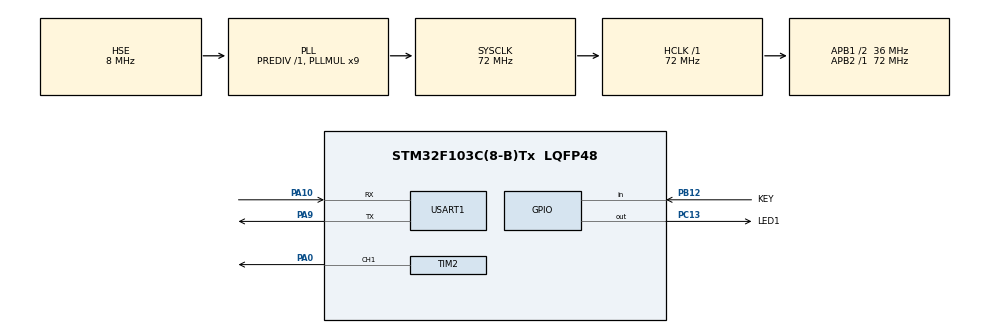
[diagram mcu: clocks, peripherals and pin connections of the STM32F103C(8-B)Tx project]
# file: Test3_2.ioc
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Mcu.Family=STM32F1
Mcu.Name=STM32F103C(8-B)Tx
Mcu.Package=LQFP48
NVIC.PriorityGroup=NVIC_PRIORITYGROUP_4
NVIC.TIM4_IRQn=true\:0\:0\:false\:false\:true\:true\:true\:true
NVIC.USART1_IRQn=true\:0\:0\:false\:false\:true\:true\:true\:true
PA0-WKUP.Signal=S_TIM2_CH1_ETR
PA10.Mode=Asynchronous
PA10.Signal=USART1_RX
PA13.Mode=Serial_Wire
PA13.Signal=SYS_JTMS-SWDIO
PA14.Mode=Serial_Wire
PA14.Signal=SYS_JTCK-SWCLK
PA9.Mode=Asynchronous
PA9.Signal=USART1_TX
PB12.GPIO_Label=KEY
PB12.GPIO_PuPd=GPIO_PULLUP
PB12.Signal=GPIO_Input
PC13-TAMPER-RTC.GPIO_Label=LED1
PC13-TAMPER-RTC.GPIO_ModeDefaultOutputPP=GPIO_MODE_OUTPUT_OD
PC13-TAMPER-RTC.GPIO_PuPd=GPIO_NOPULL
PC13-TAMPER-RTC.PinState=GPIO_PIN_SET
PC13-TAMPER-RTC.Signal=GPIO_Output
PD0-OSC_IN.Mode=HSE-External-Oscillator
PD0-OSC_IN.Signal=RCC_OSC_IN
PD1-OSC_OUT.Mode=HSE-External-Oscillator
PD1-OSC_OUT.Signal=RCC_OSC_OUT
ProjectManager.HeapSize=0x200
ProjectManager.StackSize=0x400
ProjectManager.TargetToolchain=MDK-ARM V5.32
RCC.AHBFreq_Value=72000000
RCC.APB1CLKDivider=RCC_HCLK_DIV2
RCC.APB1Freq_Value=36000000
RCC.APB1TimFreq_Value=72000000
RCC.APB2Freq_Value=72000000
RCC.APB2TimFreq_Value=72000000
RCC.HCLKFreq_Value=72000000
RCC.PLLMUL=RCC_PLL_MUL9
RCC.PLLSourceVirtual=RCC_PLLSOURCE_HSE
RCC.SYSCLKFreq_VALUE=72000000
RCC.SYSCLKSource=RCC_SYSCLKSOURCE_PLLCLK
RCC.USBFreq_Value=72000000
SH.S_TIM2_CH1_ETR.0=TIM2_CH1,PWM Generation1 CH1
TIM2.Channel-PWM\ Generation1\ CH1=TIM_CHANNEL_1
TIM2.Period=100 - 1
TIM2.Prescaler=72 - 1
TIM4.Period=1000 - 1
TIM4.Prescaler=72 - 1
USART1.VirtualMode=VM_ASYNC
VP_TIM2_VS_ClockSourceINT.Mode=Internal
VP_TIM4_VS_ClockSourceINT.Mode=Internal
board=custom

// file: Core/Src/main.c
/* USER CODE BEGIN Header */
/**
  ******************************************************************************
  * @file           : main.c
  * @brief          : Main program body
  ******************************************************************************
  * @attention
  *
  * Copyright (c) 2026 STMicroelectronics.
  * All rights reserved.
  *
  * This software is licensed under terms that can be found in the LICENSE file
  * in the root directory of this software component.
  * If no LICENSE file comes with this software, it is provided AS-IS.
  *
  ******************************************************************************
  */
/* USER CODE END Header */
#include "main.h"
#include "tim.h"
#include "usart.h"
#include "gpio.h"

/* USER CODE BEGIN Includes */
#include "TimeSlide.h"
#include "Button.h"
/* USER CODE END Includes */

/* USER CODE BEGIN PTD */
typedef enum
{
  STATE_WAIT_FOR_HEADER1,
  STATE_WAIT_FOR_HEADER2,
  STATE_READ_Command,
  STATE_READ_Data,
  STATE_READ_TAIL1,
  STATE_READ_TAIL2
} SerialState;
/* USER CODE END PTD */

/* USER CODE BEGIN PD */
#define RECEIVE_HEADER_BYTE1 0xFA
#define RECEIVE_HEADER_BYTE2 0xAF
#define RECEIVE_TAIL_BYTE1 0xFB
#define RECEIVE_TAIL_BYTE2 0xBF
#define BACK_HEADER_BYTE1 0xFC
#define BACK_HEADER_BYTE2 0xCF
#define BACK_COMMAND_BYTE 0x03
#define BACK_TAIL_BYTE1 0xFD
#define BACK_TAIL_BYTE2 0xDF
#define TRANSMIT_HEADER_BYTE1 0xFA
#define TRANSMIT_HEADER_BYTE2 0xAF
#define TRANSMIT_COMMAND_BYTE 0x01
#define TRANSMIT_TAIL_BYTE1 0xFB
#define TRANSMIT_TAIL_BYTE2 0xBF
/* USER CODE END PD */

/* USER CODE BEGIN PV */
uint8_t state = 0; //0待机, 1运行
Button button1;
uint8_t receiveBuffer; // 接收缓冲区
uint8_t transmitBackBuffer[6];
uint8_t transmitBuffer[6];
SerialState current_state = STATE_WAIT_FOR_HEADER1;
uint8_t command, data;
TimeSliceTask led1ToggleTask;
uint8_t led1ToggleTaskState = 0;
uint8_t button1TaskState = 0;
uint8_t transmitState = 0x01;
uint8_t led2State = 0; // 0由暗到亮，1由亮到暗
float led2Light = 0;
/* USER CODE END PV */

void SystemClock_Config(void);

/* USER CODE BEGIN 0 */
void LED1_Toggle(void)
{
  HAL_GPIO_TogglePin(LED1_GPIO_Port, LED1_Pin); // 切换LED1状态
}

void HAL_UART_RxCpltCallback(UART_HandleTypeDef *huart)
{
  if(huart == &huart1)
  {
    if(state == 1)
    {
      switch(current_state)
      {
        case STATE_WAIT_FOR_HEADER1:
          if(receiveBuffer == RECEIVE_HEADER_BYTE1)
          {
            current_state = STATE_WAIT_FOR_HEADER2;
          }
          break;
        case STATE_WAIT_FOR_HEADER2:
          if(receiveBuffer == RECEIVE_HEADER_BYTE2)
          {
            current_state = STATE_READ_Command;
          }
          else
          {
            current_state = STATE_WAIT_FOR_HEADER1;
          }
          break;
        case STATE_READ_Command:
          command = receiveBuffer;
          current_state = STATE_READ_Data;
          break;
        case STATE_READ_Data:
          data = receiveBuffer;
          current_state = STATE_READ_TAIL1;
          break;
        case STATE_READ_TAIL1:
          if(receiveBuffer == RECEIVE_TAIL_BYTE1)
          {
            current_state = STATE_READ_TAIL2;
          }
          else
          {
            current_state = STATE_WAIT_FOR_HEADER1;
          }
          break;
        case STATE_READ_TAIL2:
          if(receiveBuffer == RECEIVE_TAIL_BYTE2)
          {
            if(command == 0x01)
            {
              uint8_t result = 0x00; // 默认失败
              if(data == 0x00)
              {
                HAL_GPIO_WritePin(LED1_GPIO_Port, LED1_Pin, GPIO_PIN_SET); // 关闭LED1
                result = 0x01; // 执行成功
              }
              else if(data == 0x01)
              {
                HAL_GPIO_WritePin(LED1_GPIO_Port, LED1_Pin, GPIO_PIN_RESET); // 打开LED1
                result = 0x01; // 执行成功
              }
              // 发送响应帧
              if(huart1.gState == HAL_UART_STATE_READY)
              {
                transmitBackBuffer[3] = result;
                HAL_UART_Transmit_IT(&huart1, transmitBackBuffer, sizeof(transmitBackBuffer));
              }
            }
            else if(command == 0x02)
            {
              if(data == 0x00)
              {
                // 0次闪烁：停止任务，关闭LED，立即返回成功
                TimeSlide_Disable(&led1ToggleTask);
                HAL_GPIO_WritePin(LED1_GPIO_Port, LED1_Pin, GPIO_PIN_SET);
                if(huart1.gState == HAL_UART_STATE_READY)
                {
                  transmitBackBuffer[3] = 0x01;
                  HAL_UART_Transmit_IT(&huart1, transmitBackBuffer, sizeof(transmitBackBuffer));
                }
              }
              else
              {
                led1ToggleTask.run_times = data * 2; // 设置翻转次数（闪烁次数×2）
                TimeSlide_Enable(&led1ToggleTask); // 启动任务
              }
            }
            current_state = STATE_WAIT_FOR_HEADER1;
          }
          else
          {
            current_state = STATE_WAIT_FOR_HEADER1;
          }
          break;
        default:
          current_state = STATE_WAIT_FOR_HEADER1;
      }
    }
    HAL_UART_Receive_IT(&huart1, &receiveBuffer, 1); // 继续接收下一个字节
  }
}

void HAL_TIM_PeriodElapsedCallback(TIM_HandleTypeDef *htim)
{
  if(htim == &htim4)
  {
    if(state == 1)
    {
      if(led2State == 0)
      {
        led2Light += 100.00 / 1100.00;
        if(led2Light >= 100)
        {
          led2Light = 100;
          led2State = 1; // 切换到由亮到暗
        }
      }
      else
      {
        led2Light -= 100.00 / 700.00;
        if(led2Light <= 0)
        {
          led2Light = 0.0;
          led2State = 0; // 切换到由暗到亮
        }
      }
      uint8_t pwm_value = (uint8_t)led2Light; // 将亮度转换为PWM值
      __HAL_TIM_SET_COMPARE(&htim2, TIM_CHANNEL_1, pwm_value); // 调整LED2亮度
    }
  }
}
/* USER CODE END 0 */

int main(void)
{

  /* MCU Configuration--------------------------------------------------------*/

  /* Reset of all peripherals, Initializes the Flash interface and the Systick. */
  HAL_Init();

  /* Configure the system clock */
  SystemClock_Config();

  /* Initialize all configured peripherals */
  MX_GPIO_Init();
  MX_TIM2_Init();
  MX_USART1_UART_Init();
  MX_TIM4_Init();
  /* USER CODE BEGIN 2 */
  HAL_TIM_Base_Start_IT(&htim4);
  led1ToggleTask.func = LED1_Toggle;
  led1ToggleTask.period_ms = 25; // 翻转周期 25ms（50ms闪烁周期的一半）
  button1.dead_zone_time = 50;        // 防抖时间 50ms
  button1.long_press_threshold = 2000; // 长按阈值 2秒
  transmitBackBuffer[0] = BACK_HEADER_BYTE1;
  transmitBackBuffer[1] = BACK_HEADER_BYTE2;
  transmitBackBuffer[2] = BACK_COMMAND_BYTE;
  transmitBackBuffer[4] = BACK_TAIL_BYTE1;
  transmitBackBuffer[5] = BACK_TAIL_BYTE2;
  transmitBuffer[0] = TRANSMIT_HEADER_BYTE1;
  transmitBuffer[1] = TRANSMIT_HEADER_BYTE2;
  transmitBuffer[2] = TRANSMIT_COMMAND_BYTE;
  transmitBuffer[4] = TRANSMIT_TAIL_BYTE1;
  transmitBuffer[5] = TRANSMIT_TAIL_BYTE2;
  HAL_UART_Receive_IT(&huart1, &receiveBuffer, 1);
  /* USER CODE END 2 */

  /* Infinite loop */
  /* USER CODE BEGIN WHILE */
  while (1)
  {
    button1TaskState = ButtonUpdate(&button1, HAL_GPIO_ReadPin(KEY_GPIO_Port, KEY_Pin) == GPIO_PIN_RESET);
    if(state == 0)
    {
      if(button1TaskState == 2)
      {
        state = 1; // 切换到运行状态
        HAL_TIM_PWM_Start(&htim2, TIM_CHANNEL_1);
        button1TaskState = 0;
      }
    }
    else if(state == 1)
    {
      if(button1TaskState == 2)
      {
        state = 0; // 切换到待机状态
        TimeSlide_Disable(&led1ToggleTask);
        led1ToggleTaskState = 0;
        HAL_GPIO_WritePin(LED1_GPIO_Port, LED1_Pin, GPIO_PIN_SET);
        led2Light = 0.0;
        led2State = 0;
        __HAL_TIM_SET_COMPARE(&htim2, TIM_CHANNEL_1, 0);
        HAL_TIM_PWM_Stop(&htim2, TIM_CHANNEL_1);
        transmitState = 0x01;
        button1TaskState = 0;
      }
      else if(button1TaskState == 1)
      {
        button1TaskState = 0;
        if(huart1.gState == HAL_UART_STATE_READY)
        {
          transmitBuffer[3] = transmitState;
          HAL_UART_Transmit_IT(&huart1, transmitBuffer, sizeof(transmitBuffer));
          transmitState = (transmitState == 0x01) ? 0x00 : 0x01;
        }
      }
      led1ToggleTaskState = TimeSlide_Update(&led1ToggleTask);
      if(led1ToggleTaskState == 1)
      {
        led1ToggleTaskState = 0;
        if(huart1.gState == HAL_UART_STATE_READY)
        {
          transmitBackBuffer[3] = 0x01; // 执行成功
          HAL_UART_Transmit_IT(&huart1, transmitBackBuffer, sizeof(transmitBackBuffer));
        }
      }
    }
    /* USER CODE END WHILE */

  }
}

void SystemClock_Config(void)
{
  RCC_OscInitTypeDef RCC_OscInitStruct = {0};
  RCC_ClkInitTypeDef RCC_ClkInitStruct = {0};

  /** Initializes the RCC Oscillators according to the specified parameters
  * in the RCC_OscInitTypeDef structure.
  */
  RCC_OscInitStruct.OscillatorType = RCC_OSCILLATORTYPE_HSE;
  RCC_OscInitStruct.HSEState = RCC_HSE_ON;
  RCC_OscInitStruct.HSEPredivValue = RCC_HSE_PREDIV_DIV1;
  RCC_OscInitStruct.HSIState = RCC_HSI_ON;
  RCC_OscInitStruct.PLL.PLLState = RCC_PLL_ON;
  RCC_OscInitStruct.PLL.PLLSource = RCC_PLLSOURCE_HSE;
  RCC_OscInitStruct.PLL.PLLMUL = RCC_PLL_MUL9;
  if (HAL_RCC_OscConfig(&RCC_OscInitStruct) != HAL_OK)
  {
    Error_Handler();
  }

  /** Initializes the CPU, AHB and APB buses clocks
  */
  RCC_ClkInitStruct.ClockType = RCC_CLOCKTYPE_HCLK|RCC_CLOCKTYPE_SYSCLK
                              |RCC_CLOCKTYPE_PCLK1|RCC_CLOCKTYPE_PCLK2;
  RCC_ClkInitStruct.SYSCLKSource = RCC_SYSCLKSOURCE_PLLCLK;
  RCC_ClkInitStruct.AHBCLKDivider = RCC_SYSCLK_DIV1;
  RCC_ClkInitStruct.APB1CLKDivider = RCC_HCLK_DIV2;
  RCC_ClkInitStruct.APB2CLKDivider = RCC_HCLK_DIV1;

  if (HAL_RCC_ClockConfig(&RCC_ClkInitStruct, FLASH_LATENCY_2) != HAL_OK)
  {
    Error_Handler();
  }
}

void Error_Handler(void)
{
  __disable_irq();
  while (1)
  {
  }
}
